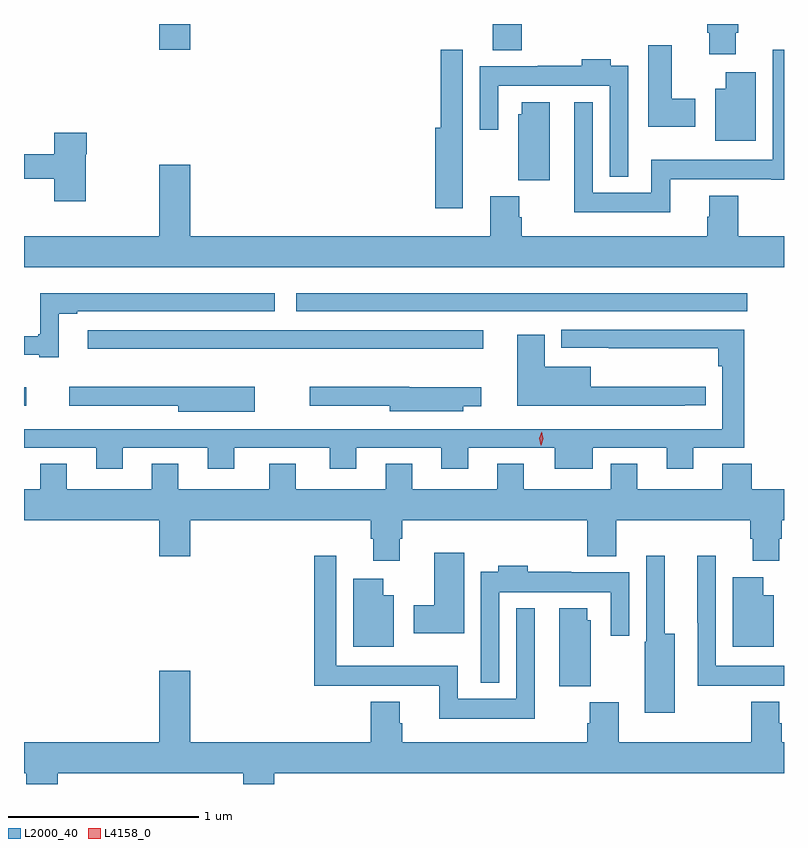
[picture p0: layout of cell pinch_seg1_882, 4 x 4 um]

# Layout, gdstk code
import gdstk
lib = gdstk.Library(unit=1e-6, precision=1e-09)
def R(c, l, rs):  # rectangles x0, y0, x1, y1
    for r in rs: c.add(gdstk.rectangle(r[:2], r[2:], *l))
def P(c, l, *ps):  # polygons
    for p in ps: c.add(gdstk.Polygon(p, *l))
L2000_40 = (2000, 40)
L4158_0 = (4158, 0)

pinch_seg1_882 = lib.new_cell('pinch_seg1_882')
R(pinch_seg1_882, L2000_40, [(499.96,527.028,499.972,527.125), (500.295,527.327,502.378,527.424), (501.393,527.523,503.767,527.62), (502.427,528.899,502.58,529.036), (500.672,528.9,500.836,529.036)])
P(pinch_seg1_882, L2000_40, [(503.707,528.99),(503.72,528.99),(503.72,529.036),(503.555,529.036),(503.555,528.99),(503.567,528.99),(503.567,528.876),(503.707,528.876)],
  [(503.494,528.642),(503.368,528.642),(503.368,528.925),(503.246,528.925),(503.246,528.494),(503.494,528.494)],
  [(502.27,528.386),(502.269,528.386),(502.269,528.901),(502.153,528.901),(502.153,528.49),(502.124,528.49),(502.124,528.066),(502.27,528.066)],
  [(503.36,528.218),(503.894,528.218),(503.894,528.216),(503.96,528.216),(503.96,528.901),(503.901,528.901),(503.901,528.322),(503.262,528.322),(503.262,528.148),(502.953,528.148),(502.953,528.625),(502.856,528.625),(502.856,528.044),(503.36,528.044)],
  [(503.139,528.817),(503.047,528.817),(503.047,528.85),(502.895,528.85),(502.895,528.817),(502.663,528.817),(502.663,528.814),(502.359,528.814),(502.359,528.48),(502.455,528.48),(502.455,528.71),(503.043,528.71),(503.043,528.233),(503.139,528.233)],
  [(503.812,528.781),(503.654,528.781),(503.654,528.694),(503.597,528.694),(503.597,528.422),(503.812,528.422)],
  [(502.726,528.625),(502.58,528.625),(502.58,528.561),(502.562,528.561),(502.562,528.214),(502.726,528.214)],
  [(500.286,528.35),(500.291,528.35),(500.291,528.463),(500.12,528.463),(500.12,528.35),(499.96,528.35),(499.96,528.222),(500.12,528.222),(500.12,528.102),(500.286,528.102)],
  [(503.96,527.92),(503.72,527.92),(503.72,528.133),(503.567,528.133),(503.567,528.021),(503.555,528.021),(503.555,527.92),(502.58,527.92),(502.58,528.02),(502.567,528.02),(502.567,528.129),(502.415,528.129),(502.415,527.92),(500.836,527.92),(500.836,528.295),(500.672,528.295),(500.672,527.92),(499.96,527.92),(499.96,527.756),(503.96,527.756)],
  [(500.143,527.511),(500.239,527.511),(500.239,527.523),(501.28,527.523),(501.28,527.62),(500.045,527.62),(500.045,527.404),(500.034,527.404),(500.034,527.392),(499.96,527.392),(499.96,527.294),(500.039,527.294),(500.039,527.283),(500.143,527.283)],
  [(500.479,526.806),(500.927,526.806),(500.927,526.694),(501.067,526.694),(501.067,526.806),(501.569,526.806),(501.569,526.694),(501.709,526.694),(501.709,526.806),(502.157,526.806),(502.157,526.694),(502.297,526.694),(502.297,526.806),(502.754,526.806),(502.754,526.694),(502.954,526.694),(502.954,526.806),(503.342,526.806),(503.342,526.694),(503.482,526.694),(503.482,526.806),(503.75,526.806),(503.75,527.427),(502.787,527.427),(502.787,527.331),(503.038,527.331),(503.038,527.33),(503.614,527.33),(503.614,527.234),(503.634,527.234),(503.634,526.902),(499.96,526.902),(499.96,526.806),(500.339,526.806),(500.339,526.694),(500.479,526.694)],
  [(502.838,527.028),(503.438,527.028),(503.438,527.029),(503.549,527.029),(503.549,527.126),(502.942,527.126),(502.942,527.233),(502.702,527.233),(502.702,527.401),(502.556,527.401),(502.556,527.027),(502.838,527.027)],
  [(502.272,527.024),(502.366,527.024),(502.366,527.125),(501.988,527.125),(501.988,527.126),(501.465,527.126),(501.465,527.028),(501.884,527.028),(501.884,526.997),(502.272,526.997)],
  [(501.175,527.126),(500.199,527.126),(500.199,527.028),(500.771,527.028),(500.771,526.994),(501.175,526.994)],
  [(501.937,526.326),(501.95,526.326),(501.95,526.424),(502.925,526.424),(502.925,526.235),(503.077,526.235),(503.077,526.424),(503.783,526.424),(503.783,526.326),(503.795,526.326),(503.795,526.212),(503.935,526.212),(503.935,526.326),(503.948,526.326),(503.948,526.424),(503.96,526.424),(503.96,526.588),(503.789,526.588),(503.789,526.721),(503.636,526.721),(503.636,526.588),(503.188,526.588),(503.188,526.721),(503.048,526.721),(503.048,526.588),(502.591,526.588),(502.591,526.721),(502.451,526.721),(502.451,526.588),(502.003,526.588),(502.003,526.721),(501.863,526.721),(501.863,526.588),(501.391,526.588),(501.391,526.721),(501.251,526.721),(501.251,526.588),(500.773,526.588),(500.773,526.721),(500.633,526.721),(500.633,526.588),(500.185,526.588),(500.185,526.721),(500.045,526.721),(500.045,526.588),(499.96,526.588),(499.96,526.424),(500.672,526.424),(500.672,526.236),(500.836,526.236),(500.836,526.424),(501.785,526.424),(501.785,526.326),(501.797,526.326),(501.797,526.212),(501.937,526.212)],
  [(502.276,526.252),(502.118,526.252),(502.118,525.978),(502.011,525.978),(502.011,525.83),(502.276,525.83)],
  [(503.386,525.826),(503.332,525.826),(503.332,526.237),(503.235,526.237),(503.235,525.786),(503.228,525.786),(503.228,525.41),(503.386,525.41)],
  [(503.96,525.658),(503.601,525.658),(503.601,526.237),(503.504,526.237),(503.504,525.886),(503.505,525.886),(503.505,525.554),(503.96,525.554)],
  [(502.648,525.961),(502.551,525.961),(502.551,525.484),(502.242,525.484),(502.242,525.658),(501.603,525.658),(501.603,526.237),(501.487,526.237),(501.487,525.552),(501.61,525.552),(501.61,525.554),(502.145,525.554),(502.145,525.38),(502.648,525.38)],
  [(502.461,526.046),(503.049,526.046),(503.049,525.816),(503.145,525.816),(503.145,526.15),(502.841,526.15),(502.841,526.153),(502.61,526.153),(502.61,526.186),(502.457,526.186),(502.457,526.153),(502.365,526.153),(502.365,525.569),(502.461,525.569)],
  [(503.905,526.03),(503.851,526.03),(503.851,526.123),(503.69,526.123),(503.69,525.758),(503.905,525.758)],
  [(501.907,526.03),(501.85,526.03),(501.85,526.117),(501.692,526.117),(501.692,525.758),(501.907,525.758)],
  [(502.942,525.897),(502.924,525.897),(502.924,525.961),(502.778,525.961),(502.778,525.55),(502.942,525.55)],
  [(500.138,525.092),(501.113,525.092),(501.113,525.036),(501.278,525.036),(501.278,525.092),(503.96,525.092),(503.96,525.256),(503.948,525.256),(503.948,525.357),(503.935,525.357),(503.935,525.469),(503.788,525.469),(503.788,525.256),(503.09,525.256),(503.09,525.465),(502.937,525.465),(502.937,525.356),(502.925,525.356),(502.925,525.256),(501.95,525.256),(501.95,525.357),(501.937,525.357),(501.937,525.469),(501.785,525.469),(501.785,525.256),(500.836,525.256),(500.836,525.631),(500.672,525.631),(500.672,525.256),(499.96,525.256),(499.96,525.092),(499.973,525.092),(499.973,525.036),(500.138,525.036)])
P(pinch_seg1_882, L4158_0, [(502.681,526.819),(502.673,526.855),(502.685,526.889),(502.685,526.89),(502.685,526.889),(502.693,526.854),(502.682,526.819),(502.682,526.819)])

lib.write_gds('pinch_seg1_882.gds')
